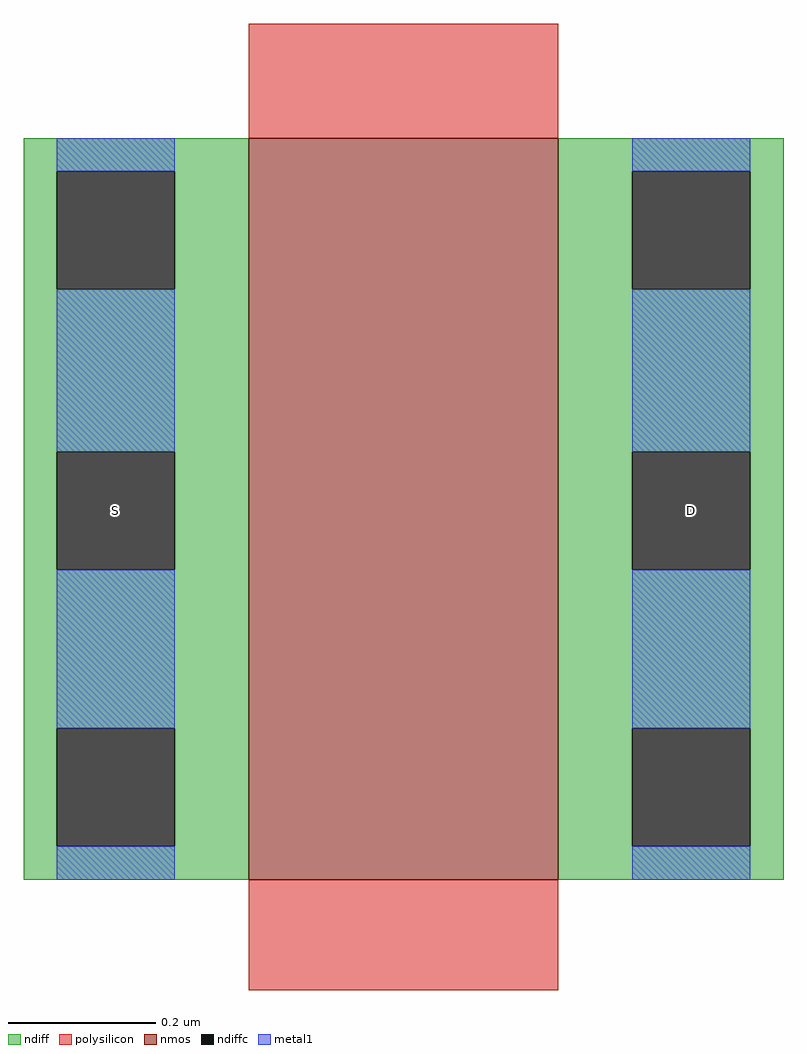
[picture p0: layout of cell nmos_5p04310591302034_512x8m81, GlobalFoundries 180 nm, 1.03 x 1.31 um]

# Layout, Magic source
magic
tech gf180mcuD
magscale 1 10
<< nmos >>
rect 0 0 84 201
<< ndiff >>
rect -61 192 0 201
rect -61 160 -52 192
rect -20 160 0 192
rect -61 116 0 160
rect -61 84 -52 116
rect -20 84 0 116
rect -61 41 0 84
rect -61 9 -52 41
rect -20 9 0 41
rect -61 0 0 9
rect 84 192 145 201
rect 84 160 104 192
rect 136 160 145 192
rect 84 116 145 160
rect 84 84 104 116
rect 136 84 145 116
rect 84 41 145 84
rect 84 9 104 41
rect 136 9 145 41
rect 84 0 145 9
<< ndiffc >>
rect -52 160 -20 192
rect -52 84 -20 116
rect -52 9 -20 41
rect 104 160 136 192
rect 104 84 136 116
rect 104 9 136 41
<< polysilicon >>
rect 0 201 84 232
rect 0 -30 84 0
<< metal1 >>
rect -52 192 -20 201
rect -52 116 -20 160
rect -52 41 -20 84
rect -52 0 -20 9
rect 104 192 136 201
rect 104 116 136 160
rect 104 41 136 84
rect 104 0 136 9
<< labels >>
flabel ndiffc -36 100 -36 100 0 FreeSans 140 0 0 0 S
flabel ndiffc 120 100 120 100 0 FreeSans 140 0 0 0 D
<< end >>
